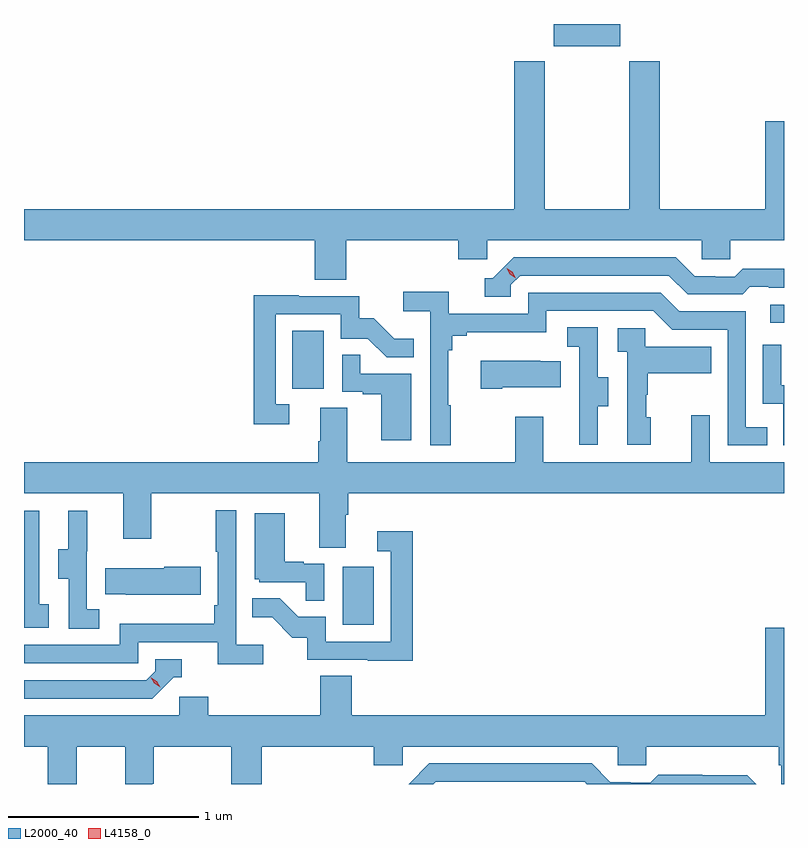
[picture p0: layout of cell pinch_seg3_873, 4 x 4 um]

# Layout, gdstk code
import gdstk
lib = gdstk.Library(unit=1e-6, precision=1e-09)
def R(c, l, rs):  # rectangles x0, y0, x1, y1
    for r in rs: c.add(gdstk.rectangle(r[:2], r[2:], *l))
def P(c, l, *ps):  # polygons
    for p in ps: c.add(gdstk.Polygon(p, *l))
L2000_40 = (2000, 40)
L4158_0 = (4158, 0)

pinch_seg3_873 = lib.new_cell('pinch_seg3_873')
R(pinch_seg3_873, L2000_40, [(880.868,698.892,881.032,699.199), (880.604,700.134,880.768,700.441), (883.119,700.482,883.191,700.578), (881.978,701.939,882.328,702.055)])
P(pinch_seg3_873, L2000_40, [(880.886,700.916),(881.477,700.916),(881.477,700.818),(881.628,700.818),(881.628,700.916),(882.759,700.916),(882.759,700.818),(882.909,700.818),(882.909,700.916),(883.191,700.916),(883.191,701.542),(883.091,701.542),(883.091,701.08),(882.536,701.08),(882.536,701.86),(882.376,701.86),(882.376,701.08),(881.931,701.08),(881.931,701.86),(881.771,701.86),(881.771,701.08),(879.191,701.08),(879.191,700.916),(880.721,700.916),(880.721,700.708),(880.886,700.708)],
  [(881.754,700.683),(881.802,700.731),(882.585,700.731),(882.684,700.632),(882.973,700.632),(883.012,700.671),(883.111,700.671),(883.111,700.668),(883.191,700.668),(883.191,700.768),(882.973,700.768),(882.931,700.725),(882.828,700.725),(882.828,700.728),(882.721,700.728),(882.622,700.827),(881.769,700.827),(881.658,700.716),(881.615,700.716),(881.615,700.62),(881.754,700.62)],
  [(881.437,700.049),(881.425,700.049),(881.425,700.337),(881.444,700.337),(881.444,700.414),(881.521,700.414),(881.521,700.433),(881.94,700.433),(881.94,700.545),(882.504,700.545),(882.603,700.446),(882.894,700.446),(882.894,699.837),(883.103,699.837),(883.103,699.933),(882.99,699.933),(882.99,700.542),(882.64,700.542),(882.541,700.641),(881.844,700.641),(881.844,700.53),(881.426,700.53),(881.426,700.646),(881.187,700.646),(881.187,700.544),(881.328,700.544),(881.328,699.837),(881.437,699.837)],
  [(880.588,700.053),(880.515,700.053),(880.515,700.527),(880.857,700.527),(880.857,700.398),(881.001,700.398),(881.099,700.3),(881.243,700.3),(881.243,700.399),(881.139,700.399),(881.032,700.506),(880.956,700.506),(880.956,700.623),(880.637,700.623),(880.637,700.628),(880.399,700.628),(880.399,699.948),(880.588,699.948)],
  [(882.211,700.042),(882.265,700.042),(882.265,700.197),(882.21,700.197),(882.21,700.46),(882.051,700.46),(882.051,700.357),(882.114,700.357),(882.114,700.053),(882.113,700.053),(882.113,699.84),(882.211,699.84)],
  [(882.49,699.984),(882.465,699.984),(882.465,700.103),(882.475,700.103),(882.475,700.217),(882.809,700.217),(882.809,700.357),(882.462,700.357),(882.462,700.455),(882.315,700.455),(882.315,700.331),(882.366,700.331),(882.366,699.84),(882.49,699.84)],
  [(883.191,700.154),(883.176,700.154),(883.176,700.366),(883.08,700.366),(883.08,700.056),(883.188,700.056),(883.188,699.837),(883.191,699.837)],
  [(881.23,700.215),(880.961,700.215),(880.961,700.313),(880.866,700.313),(880.866,700.119),(880.973,700.119),(880.973,700.107),(881.072,700.107),(881.072,699.864),(881.23,699.864)],
  [(881.707,700.142),(882.017,700.142),(882.017,700.279),(881.909,700.279),(881.909,700.282),(881.595,700.282),(881.595,700.135),(881.707,700.135)],
  [(880.885,699.472),(880.898,699.472),(880.898,699.584),(883.191,699.584),(883.191,699.748),(882.801,699.748),(882.801,699.997),(882.704,699.997),(882.704,699.748),(881.923,699.748),(881.923,699.988),(881.776,699.988),(881.776,699.748),(880.891,699.748),(880.891,700.034),(880.751,700.034),(880.751,699.86),(880.739,699.86),(880.739,699.748),(879.191,699.748),(879.191,699.584),(879.713,699.584),(879.713,699.345),(879.861,699.345),(879.861,699.584),(880.745,699.584),(880.745,699.298),(880.885,699.298)],
  [(880.45,698.788),(880.308,698.788),(880.308,699.496),(880.2,699.496),(880.2,699.277),(880.212,699.277),(880.212,698.995),(880.192,698.995),(880.192,698.899),(879.696,698.899),(879.696,698.787),(879.191,698.787),(879.191,698.691),(879.792,698.691),(879.792,698.802),(880.211,698.802),(880.211,698.686),(880.45,698.686)],
  [(879.586,698.975),(879.522,698.975),(879.522,699.279),(879.524,699.279),(879.524,699.493),(879.425,699.493),(879.425,699.291),(879.371,699.291),(879.371,699.136),(879.426,699.136),(879.426,698.872),(879.586,698.872)],
  [(879.322,699.002),(879.27,699.002),(879.27,699.493),(879.191,699.493),(879.191,698.877),(879.322,698.877)],
  [(880.77,699.213),(880.664,699.213),(880.664,699.226),(880.564,699.226),(880.564,699.481),(880.406,699.481),(880.406,699.132),(880.428,699.132),(880.428,699.117),(880.675,699.117),(880.675,699.019),(880.77,699.019)],
  [(881.237,699.385),(881.049,699.385),(881.049,699.279),(881.121,699.279),(881.121,698.805),(880.779,698.805),(880.779,698.934),(880.635,698.934),(880.537,699.032),(880.393,699.032),(880.393,698.933),(880.497,698.933),(880.604,698.826),(880.681,698.826),(880.681,698.709),(880.999,698.709),(880.999,698.704),(881.237,698.704)],
  [(880.12,699.198),(879.929,699.198),(879.929,699.19),(879.619,699.19),(879.619,699.053),(879.727,699.053),(879.727,699.05),(880.12,699.05)],
  [(879.191,698.252),(879.317,698.252),(879.317,698.055),(879.469,698.055),(879.469,698.252),(879.725,698.252),(879.725,698.055),(879.865,698.055),(879.865,698.056),(879.873,698.056),(879.873,698.252),(880.282,698.252),(880.282,698.055),(880.442,698.055),(880.442,698.252),(881.033,698.252),(881.033,698.154),(881.184,698.154),(881.184,698.252),(882.315,698.252),(882.315,698.154),(882.465,698.154),(882.465,698.252),(883.163,698.252),(883.163,698.154),(883.177,698.154),(883.177,698.055),(883.191,698.055),(883.191,698.878),(883.091,698.878),(883.091,698.416),(880.916,698.416),(880.916,698.624),(880.751,698.624),(880.751,698.416),(880.16,698.416),(880.16,698.514),(880.008,698.514),(880.008,698.416),(879.191,698.416)],
  [(879.978,698.616),(880.021,698.616),(880.021,698.712),(879.882,698.712),(879.882,698.649),(879.834,698.601),(879.191,698.601),(879.191,698.505),(879.867,698.505)],
  [(881.358,698.067),(882.141,698.067),(882.153,698.055),(883.044,698.055),(882.998,698.101),(882.762,698.101),(882.762,698.104),(882.529,698.104),(882.487,698.061),(882.384,698.061),(882.384,698.064),(882.277,698.064),(882.178,698.163),(881.325,698.163),(881.217,698.055),(881.346,698.055)])
P(pinch_seg3_873, L4158_0, [(881.779,700.718),(881.748,700.737),(881.731,700.769),(881.731,700.769),(881.731,700.769),(881.762,700.75),(881.779,700.718),(881.779,700.718)],
  [(879.907,698.564),(879.876,698.584),(879.859,698.616),(879.859,698.616),(879.859,698.616),(879.89,698.597),(879.907,698.564),(879.907,698.564)])

lib.write_gds('pinch_seg3_873.gds')
